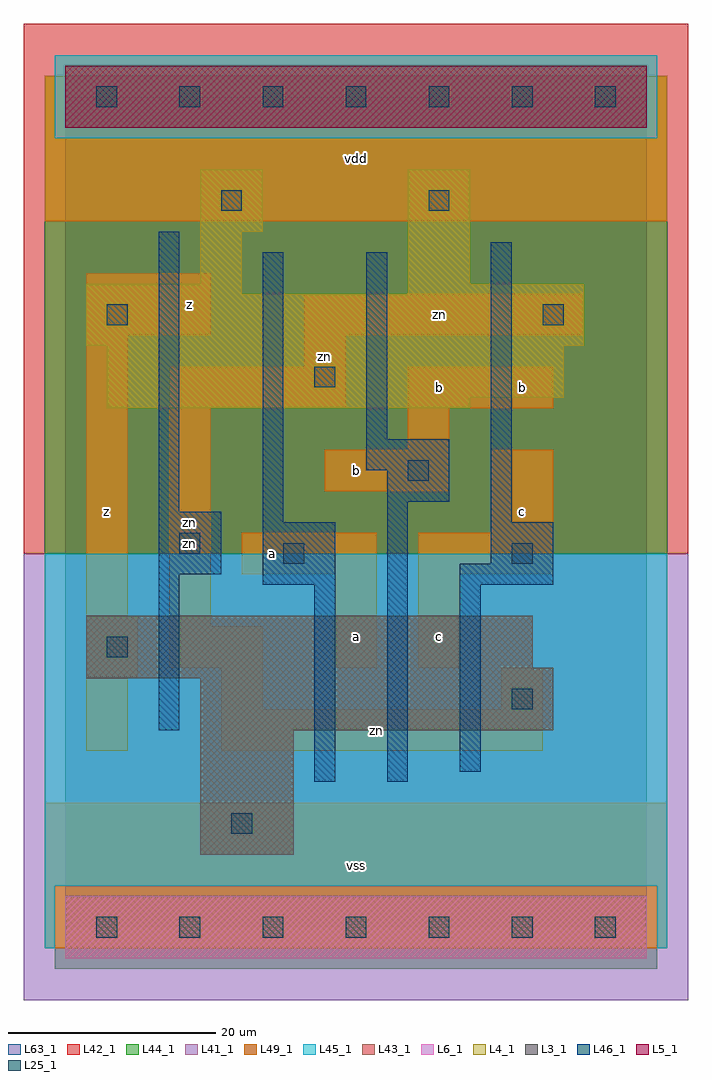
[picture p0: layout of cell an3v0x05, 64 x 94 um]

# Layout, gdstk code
import gdstk
lib = gdstk.Library(unit=1e-6, precision=1e-09)
def R(c, l, rs):  # rectangles x0, y0, x1, y1
    for r in rs: c.add(gdstk.rectangle(r[:2], r[2:], *l))
def A(c, l, x, y, w, h, nx, ny, dx, dy):  # array of equal rectangles
    R(c, l, [(x+i*dx, y+j*dy, x+i*dx+w, y+j*dy+h) for i in range(nx) for j in range(ny)])
L3_1 = (3, 1)
L4_1 = (4, 1)
L5_1 = (5, 1)
L6_1 = (6, 1)
L25_1 = (25, 1)
L41_1 = (41, 1)
L42_1 = (42, 1)
L43_1 = (43, 1)
L44_1 = (44, 1)
L45_1 = (45, 1)
L46_1 = (46, 1)
L49_1 = (49, 1)
L63_1 = (63, 1)

an3v0x05 = lib.new_cell('an3v0x05')
R(an3v0x05, L3_1, [(13,7,22,19), (13,19,47,24), (2,24,47,25), (2,25,45,30)])
R(an3v0x05, L4_1, [(4,50,39,51), (4,51,48,56), (2,56,50,61), (2,61,17,62), (33,61,50,62), (13,62,17,67), (33,62,39,73), (13,67,19,73)])
R(an3v0x05, L5_1, [(0,77,56,83)])
R(an3v0x05, L6_1, [(0,-3,56,3), (0,-3,56,3)])
A(an3v0x05, L25_1, 3, -1, 2, 2, 7, 2, 8, 80)
R(an3v0x05, L25_1, [(16,9,18,11), (43,21,45,23), (4,26,6,28), (21,35,23,37), (43,35,45,37), (11,36,13,38), (33,43,35,45), (24,52,26,54), (4,58,6,60), (46,58,48,60), (15,69,17,71), (35,69,37,71)])
R(an3v0x05, L41_1, [(-4,-7,60,36)])
R(an3v0x05, L42_1, [(-4,36,60,87)])
R(an3v0x05, L43_1, [(0,-3,56,3), (13,7,22,19), (13,19,47,24), (2,24,47,25), (2,25,45,30), (4,50,39,51), (4,51,48,56), (2,56,50,61), (2,61,17,62), (33,61,50,62), (13,62,17,67), (33,62,39,73), (13,67,19,73), (0,77,56,83)])
R(an3v0x05, L44_1, [(-1,-4,57,4), (-2,36,58,76), (-2,76,-1,82), (57,76,58,82)])
R(an3v0x05, L45_1, [(-2,-2,-1,4), (57,-2,58,4), (-2,4,58,36), (-1,76,57,84)])
R(an3v0x05, L46_1, [(24,14,26,33), (31,14,33,41), (38,15,40,33), (9,19,11,34), (19,33,26,39), (38,33,47,35), (9,34,15,40), (41,35,47,39), (19,39,21,65), (41,39,43,66), (9,40,11,67), (31,41,37,44), (29,44,37,47), (29,47,31,65)])
R(an3v0x05, L49_1, [(-2,-2,58,12), (2,17,6,24), (15,17,46,21), (15,21,19,25), (42,21,46,25), (2,24,7,30), (10,25,19,29), (26,25,30,34), (34,25,38,34), (10,29,14,50), (2,30,6,57), (17,34,30,38), (34,34,47,38), (41,38,47,46), (25,42,37,46), (33,46,37,50), (10,50,27,54), (33,50,47,54), (23,54,27,57), (2,57,14,63), (23,57,50,61), (-2,68,58,82)])
R(an3v0x05, L63_1, [(0,0,56,80)])
an3v0x05.add(gdstk.Label('zn', (12,37), layer=49, texttype=1))
an3v0x05.add(gdstk.Label('z', (4,40), layer=49, texttype=1))
an3v0x05.add(gdstk.Label('zn', (12,39), layer=49, texttype=1))
an3v0x05.add(gdstk.Label('z', (12,60), layer=49, texttype=1))
an3v0x05.add(gdstk.Label('vss', (28,6), layer=49, texttype=1))
an3v0x05.add(gdstk.Label('a', (28,28), layer=49, texttype=1))
an3v0x05.add(gdstk.Label('a', (20,36), layer=49, texttype=1))
an3v0x05.add(gdstk.Label('b', (28,44), layer=49, texttype=1))
an3v0x05.add(gdstk.Label('zn', (25,55), layer=49, texttype=1))
an3v0x05.add(gdstk.Label('vdd', (28,74), layer=49, texttype=1))
an3v0x05.add(gdstk.Label('c', (36,28), layer=49, texttype=1))
an3v0x05.add(gdstk.Label('zn', (30,19), layer=49, texttype=1))
an3v0x05.add(gdstk.Label('c', (44,40), layer=49, texttype=1))
an3v0x05.add(gdstk.Label('b', (44,52), layer=49, texttype=1))
an3v0x05.add(gdstk.Label('b', (36,52), layer=49, texttype=1))
an3v0x05.add(gdstk.Label('zn', (36,59), layer=49, texttype=1))

lib.write_gds('an3v0x05.gds')
